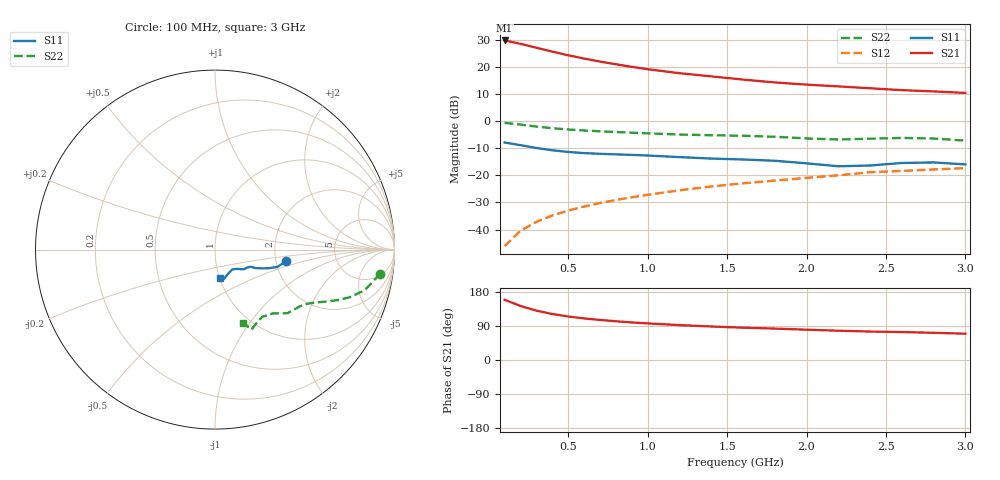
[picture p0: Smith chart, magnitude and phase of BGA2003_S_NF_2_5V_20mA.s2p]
! Title: BGA2003
! Bias: V(Vs_Out)=2.5V; I(CTRL)=20mA controlled / noise data included
! Company: Philips Semiconductors NL
! User: Quality&Reliability DiscreteSemiConductors-Nijmegen
! Measure time: 15 Jan 1999 / 14:08:01
#  MHz  S  MA  R 50
! Freq  S11  S21  S12  S22  :
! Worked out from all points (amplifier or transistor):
!   20 points, 100 MHz to 3 GHz, reference 50 ohm
!   highest |S21| = 29.8 dB at 100 MHz (marker M1)
!   |S21| within 3 dB of that: start of sweep to 322.1 MHz
!   unconditionally stable (mu >= 1): 820.3 MHz to end of sweep
!   at 400 MHz: K = 0.84, MSG = 30.2 dB, |S12| = -34.8 dB
!   at 1.2 GHz: K = 1.07, MAG = 20.0 dB, |S12| = -25.5 dB
!   at 3 GHz: K = 1.07, MAG = 12.3 dB, |S12| = -17.3 dB
!   lowest NFmin = 2.23 dB at 900 MHz
100  0.4032 -9.0  30.78 159.0  0.004932 86.5  0.9296 -8.3
200  0.3603 -15.6  26.69 142.5  0.009486 85.7  0.8635 -15.3
300  0.3193 -18.9  22.6 130.3  0.01385 84.8  0.7942 -19.6
400  0.2903 -21.1  19.17 121.3  0.01818 84.8  0.7409 -22.3
500  0.2699 -22.6  16.41 114.8  0.02236 85.0  0.7013 -24.2
600  0.2572 -23.7  14.28 109.8  0.02654 85.2  0.672 -25.6
700  0.2493 -24.5  12.56 105.7  0.03085 85.5  0.6495 -26.8
800  0.2436 -24.8  11.2 102.2  0.03503 85.6  0.6302 -28.0
900  0.2385 -24.8  10.03 99.1  0.03933 85.4  0.6119 -29.2
1000  0.2319 -25.0  9.077 96.6  0.04372 85.5  0.595 -30.5
1200  0.2169 -26.4  7.659 92.1  0.05288 85.3  0.5665 -34.2
1400  0.2039 -29.7  6.698 88.5  0.06218 85.1  0.5491 -38.2
1600  0.1961 -33.5  5.845 85.2  0.0712 84.8  0.5376 -41.2
1800  0.1857 -36.2  5.172 83.0  0.08007 84.3  0.5148 -43.7
2000  0.1665 -39.9  4.715 79.9  0.08967 83.2  0.4796 -47.9
2200  0.147 -48.8  4.374 77.3  0.1002 82.4  0.4576 -54.9
2400  0.1517 -60.2  4.038 75.1  0.1141 81.2  0.4741 -61.7
2600  0.1691 -72.4  3.727 73.8  0.1206 80.6  0.49 -65.6
2800  0.173 -76.2  3.533 71.8  0.1283 80.3  0.4776 -66.4
3000  0.159 -79.9  3.313 69.4  0.1358 79.4  0.4366 -68.8
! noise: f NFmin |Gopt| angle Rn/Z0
900  2.23  0.18  -167.9  0.15
1000  2.23  0.19  -158.7  0.16
1800  2.29  0.19  -126.4  0.23
2000  2.27  0.21  -124.4  0.23
2400  2.59  0.2  -117.5  0.29
